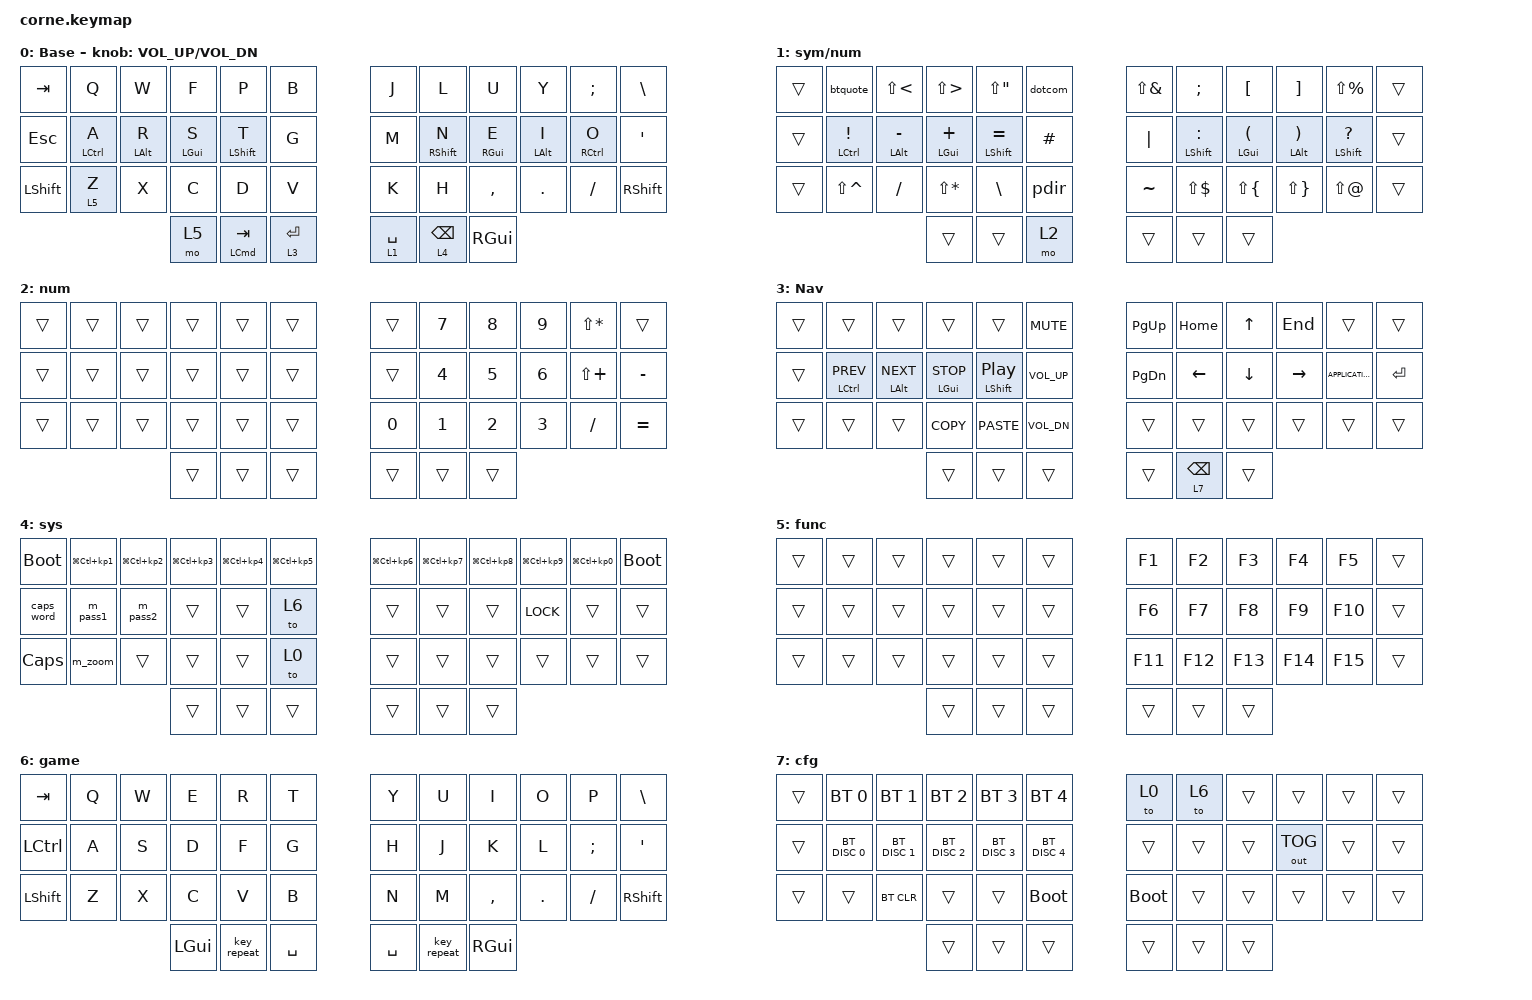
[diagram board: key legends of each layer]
/*
 * Copyright (c) 2020 The ZMK Contributors
 *
 * SPDX-License-Identifier: MIT
 */

#include "secrets.dtsi"
#include <behaviors.dtsi>
#include <dt-bindings/zmk/bt.h>
#include <dt-bindings/zmk/keys.h>
#include <dt-bindings/zmk/outputs.h>

&mt { tapping-term-ms = <200>; };

&gresc { keep-mods = <(MOD_LSFT|MOD_RSFT)>; };

/ {
    behaviors {
        hm: homerow_mod {
            compatible = "zmk,behavior-hold-tap";
            label = "HM";
            bindings = <&kp>, <&kp>;

            #binding-cells = <2>;
            tapping-term-ms = <150>;
            quick-tap-ms = <0>;
            flavor = "tap-preferred";
        };

        hml: homerow-left {
            compatible = "zmk,behavior-hold-tap";
            label = "HML";
            bindings = <&kp>, <&kp>;

            #binding-cells = <2>;
            tapping-term-ms = <280>;
            quick-tap-ms = <175>;
            require-prior-idle-ms = <150>;
            flavor = "balanced";
            hold-trigger-key-positions = <50 51 52 53 54 55 43 44 30 18 6 31 19 7 8 9 10 11 35 22 23 49 48 34 47 57 56 45 46 32 33 21 20 41 40 39 38 37 36>;
            hold-trigger-on-release;
        };

        hmr: homerow-right {
            compatible = "zmk,behavior-hold-tap";
            label = "HMR";
            bindings = <&kp>, <&kp>;

            #binding-cells = <2>;
            tapping-term-ms = <280>;
            quick-tap-ms = <175>;
            require-prior-idle-ms = <150>;
            flavor = "balanced";
            hold-trigger-key-positions = <0 1 2 3 4 5 12 13 14 15 16 17 24 25 26 27 28 29 36 37 38 39 40 41 42 50 51 52 53 54 55 56 57>;
            hold-trigger-on-release;
        };

        tldesc: tilde_esc {
            compatible = "zmk,behavior-mod-morph";
            label = "TLDESC";
            bindings = <&kp ESC>, <&kp TILDE>;

            #binding-cells = <0>;
            mods = <(MOD_LSFT|MOD_RSFT)>;
        };

        lbr: lbr {
            compatible = "zmk,behavior-mod-morph";
            label = "LBR";
            bindings = <&kp LEFT_BRACKET>, <&kp LEFT_PARENTHESIS>;

            #binding-cells = <0>;
            mods = <(MOD_LGUI|MOD_RGUI)>;
        };

        rbr: rbr {
            compatible = "zmk,behavior-mod-morph";
            label = "RBR";
            bindings = <&kp RIGHT_BRACKET>, <&kp RIGHT_PARENTHESIS>;

            #binding-cells = <0>;
            mods = <(MOD_LGUI|MOD_RGUI)>;
        };

        btquote: btquote {
            compatible = "zmk,behavior-mod-morph";
            label = "BTQUOTE";
            bindings = <&kp SINGLE_QUOTE>, <&kp GRAVE>;

            #binding-cells = <0>;
            mods = <(MOD_RSFT|MOD_LSFT)>;
        };

        dotcom: dotcom {
            compatible = "zmk,behavior-mod-morph";
            label = "DOTCOM";
            bindings = <&kp PERIOD>, <&kp COMMA>;

            #binding-cells = <0>;
            mods = <(MOD_LSFT|MOD_RSFT)>;
        };
    };

    combos {
        compatible = "zmk,combos";

        CO_CFG {
            bindings = <&mo 7>;
            key-positions = <56 61 41 40>;
            timeout-ms = <100>;
            slow-release;
        };

        CO_ESC {
            bindings = <&kp ESCAPE>;
            key-positions = <7 8>;
        };
    };

    macros {
        m_pass1: m_pass1 {
            compatible = "zmk,behavior-macro";
            #binding-cells = <0>;
            bindings = <&none &kp LS(N) &kp LS(O) &kp LS(N) &kp LS(E)>;
            label = "M_PASS1";
            wait-ms = <10>;
            tap-ms = <15>;
        };

        m_pass2: m_pass2 {
            compatible = "zmk,behavior-macro";
            #binding-cells = <0>;
            bindings = <&none &kp LS(N) &kp LS(O) &kp LS(N) &kp LS(E)>;
            label = "M_PASS2";
        };

        m_zoom: m_zoom {
            compatible = "zmk,behavior-macro";
            #binding-cells = <0>;
            bindings = <&none &kp FSLH &kp Z &kp O &kp O &kp M &kp SPACE &kp J &kp O &kp I &kp N &kp SPACE &kp M &kp E>;
            label = "M_ZOOM";
        };

        pdir: pdir {
            compatible = "zmk,behavior-macro";
            #binding-cells = <0>;
            bindings = <&kp DOT &kp DOT &kp FSLH>;
            label = "PDIR";
        };
    };

    keymap {
        compatible = "zmk,keymap";

        default_layer {
            // ------------------------------------------------------------------------------------------------------------
            // |  ESC  |  1  |  2  |  3   |  4   |  5   |                   |  6   |  7    |  8    |  9   |   0   |   `   |
            // |  TAB  |  Q  |  W  |  E   |  R   |  T   |                   |  Y   |  U    |  I    |  O   |   P   |   -   |
            // |  CTRL |  A  |  S  |  D   |  F   |  G   |                   |  H   |  J    |  K    |  L   |   ;   |   '   |
            // | SHIFT |  Z  |  X  |  C   |  V   |  B   |   "["  |  |  "]"  |  N   |  M    |  ,    |  .   |   /   | SHIFT |
            //                     | ALT  | GUI  | LOWER|  SPACE |  | ENTER | RAISE| BSPC  | GUI   |

            label = "Base";
            bindings = <
&kp TAB    &kp Q        &kp W            &kp F            &kp P                  &kp B          &kp J        &kp L               &kp U             &kp Y            &kp SEMICOLON         &kp BACKSLASH
&kp ESC    &mt LCTRL A  &hml LEFT_ALT R  &hml LEFT_GUI S  &hml LEFT_SHIFT T      &kp G          &kp M        &hmr RIGHT_SHIFT N  &hmr RIGHT_GUI E  &hmr LEFT_ALT I  &hmr RIGHT_CONTROL O  &kp SQT
&kp LSHFT  &lt 5 Z      &kp X            &kp C            &kp D                  &kp V          &kp K        &kp H               &kp COMMA         &kp DOT          &kp FSLH              &kp RSHFT
                                         &mo 5            &hmr LEFT_COMMAND TAB  &lt 3 ENTER    &lt 1 SPACE  &lt 4 BACKSPACE     &kp RIGHT_GUI
            >;

            sensor-bindings = <&inc_dec_kp C_VOL_UP C_VOL_DN>;
        };

        Symbols {
            bindings = <
&trans  &btquote                &kp LS(LT)           &kp LS(GT)          &kp LS(DQT)            &dotcom     &kp LS(AMPS)  &kp SEMI               &kp LBKT                        &kp RBKT                         &kp LS(PRCNT)             &trans
&trans  &hml LCTRL EXCLAMATION  &hml LEFT_ALT MINUS  &hml LEFT_GUI PLUS  &hml LEFT_SHIFT EQUAL  &kp HASH    &kp PIPE      &hmr LEFT_SHIFT COLON  &hmr LEFT_GUI LEFT_PARENTHESIS  &hmr LEFT_ALT RIGHT_PARENTHESIS  &hmr LEFT_SHIFT QUESTION  &trans
&trans  &kp LS(CARET)           &kp FSLH             &kp LS(STAR)        &kp BSLH               &pdir       &kp TILDE     &kp LS(DLLR)           &kp LS(LBRC)                    &kp LS(RBRC)                     &kp LS(AT)                &trans
                                                     &trans              &trans                 &mo 2       &trans        &trans                 &trans
            >;

            label = "sym/num";
        };

        num {
            bindings = <
&trans  &trans  &trans  &trans  &trans  &trans    &trans  &kp N7  &kp N8  &kp N9  &kp LS(STAR)  &trans
&trans  &trans  &trans  &trans  &trans  &trans    &trans  &kp N4  &kp N5  &kp N6  &kp LS(PLUS)  &kp MINUS
&trans  &trans  &trans  &trans  &trans  &trans    &kp N0  &kp N1  &kp N2  &kp N3  &kp FSLH      &kp EQUAL
                        &trans  &trans  &trans    &trans  &trans  &trans
            >;

            label = "num";
        };

        Nav {
            bindings = <
&trans  &trans             &trans                &trans                &trans                        &kp K_MUTE         &kp PG_UP  &kp HOME         &kp UP    &kp END    &trans             &trans
&trans  &hml LCTRL C_PREV  &hml LEFT_ALT C_NEXT  &hml LEFT_GUI C_STOP  &hml LEFT_SHIFT C_PLAY_PAUSE  &kp C_VOLUME_UP    &kp PG_DN  &kp LEFT         &kp DOWN  &kp RIGHT  &kp K_APPLICATION  &kp ENTER
&trans  &trans             &trans                &kp K_COPY            &kp K_PASTE                   &kp C_VOL_DN       &trans     &trans           &trans    &trans     &trans             &trans
                                                 &trans                &trans                        &trans             &trans     &lt 7 BACKSPACE  &trans
            >;

            label = "Nav";
        };

        sys {
            bindings = <
&bootloader   &kp LG(LC(KP_N1))  &kp LG(LC(KP_N2))  &kp LG(LC(KP_N3))  &kp LG(LC(KP_N4))  &kp LG(LC(KP_N5))    &kp LG(LC(KP_N6))  &kp LG(LC(KP_N7))  &kp LG(LC(KP_N8))  &kp LG(LC(KP_N9))  &kp LG(LC(KP_N0))  &bootloader
&caps_word    &m_pass1           &m_pass2           &trans             &trans             &to 6                &trans             &trans             &trans             &kp K_LOCK         &trans             &trans
&kp CAPSLOCK  &m_zoom            &trans             &trans             &trans             &to 0                &trans             &trans             &trans             &trans             &trans             &trans
                                                    &trans             &trans             &trans               &trans             &trans             &trans
            >;

            label = "sys";
        };

        func {
            bindings = <
&trans  &trans  &trans  &trans  &trans  &trans    &kp F1   &kp F2   &kp F3   &kp F4   &kp F5   &trans
&trans  &trans  &trans  &trans  &trans  &trans    &kp F6   &kp F7   &kp F8   &kp F9   &kp F10  &trans
&trans  &trans  &trans  &trans  &trans  &trans    &kp F11  &kp F12  &kp F13  &kp F14  &kp F15  &trans
                        &trans  &trans  &trans    &trans   &trans   &trans
            >;

            label = "func";
        };

        game {
            bindings = <
&kp TAB    &kp Q  &kp W  &kp E     &kp R        &kp T        &kp Y      &kp U        &kp I      &kp O    &kp P     &kp BSLH
&kp LCTRL  &kp A  &kp S  &kp D     &kp F        &kp G        &kp H      &kp J        &kp K      &kp L    &kp SEMI  &kp SQT
&kp LSHFT  &kp Z  &kp X  &kp C     &kp V        &kp B        &kp N      &kp M        &kp COMMA  &kp DOT  &kp FSLH  &kp RSHFT
                         &kp LGUI  &key_repeat  &kp SPACE    &kp SPACE  &key_repeat  &kp RGUI
            >;

            label = "game";
        };

        cfg {
            bindings = <
&trans  &bt BT_SEL 0   &bt BT_SEL 1   &bt BT_SEL 2   &bt BT_SEL 3   &bt BT_SEL 4     &to 0        &to 6   &trans  &trans        &trans  &trans
&trans  &bt BT_DISC 0  &bt BT_DISC 1  &bt BT_DISC 2  &bt BT_DISC 3  &bt BT_DISC 4    &trans       &trans  &trans  &out OUT_TOG  &trans  &trans
&trans  &trans         &bt BT_CLR     &trans         &trans         &bootloader      &bootloader  &trans  &trans  &trans        &trans  &trans
                                      &trans         &trans         &trans           &trans       &trans  &trans
            >;

            label = "cfg";
        };
    };

    conditional_layers { compatible = "zmk,conditional-layers"; };
};

// THIS WILL Be a defined makro when compiled with secrets, or empty when no secrets are in play

INJECT_SECRETS()

//                 default_layer {
// // -----------------------------------------------------------------------------------------
// // |  TAB |  Q  |  W  |  E  |  R  |  T  |   |  Y  |  U   |  I  |  O  |  P  | BKSP |
// // | CTRL |  A  |  S  |  D  |  F  |  G  |   |  H  |  J   |  K  |  L  |  ;  |  '   |
// // | SHFT |  Z  |  X  |  C  |  V  |  B  |   |  N  |  M   |  ,  |  .  |  /  | ESC  |
// //                    | GUI | LWR | SPC |   | ENT | RSE  | ALT |
//                         label = "Base";
//                         bindings = <
//    &kp TAB   &kp Q &kp W &kp E &kp R &kp T   &kp Y &kp U  &kp I     &kp O   &kp P    &kp BSPC
//    &kp LCTRL &kp A &kp S &kp D &kp F &kp G   &kp H &kp J  &kp K     &kp L   &kp SEMI &kp SQT
//    &kp LSHFT &kp Z &kp X &kp C &kp V &kp B   &kp N &kp M  &kp COMMA &kp DOT &kp FSLH &kp ESC
//                   &kp LGUI &mo 1 &kp SPACE   &kp RET &mo 2 &kp RALT
//                         >;
//                 };
